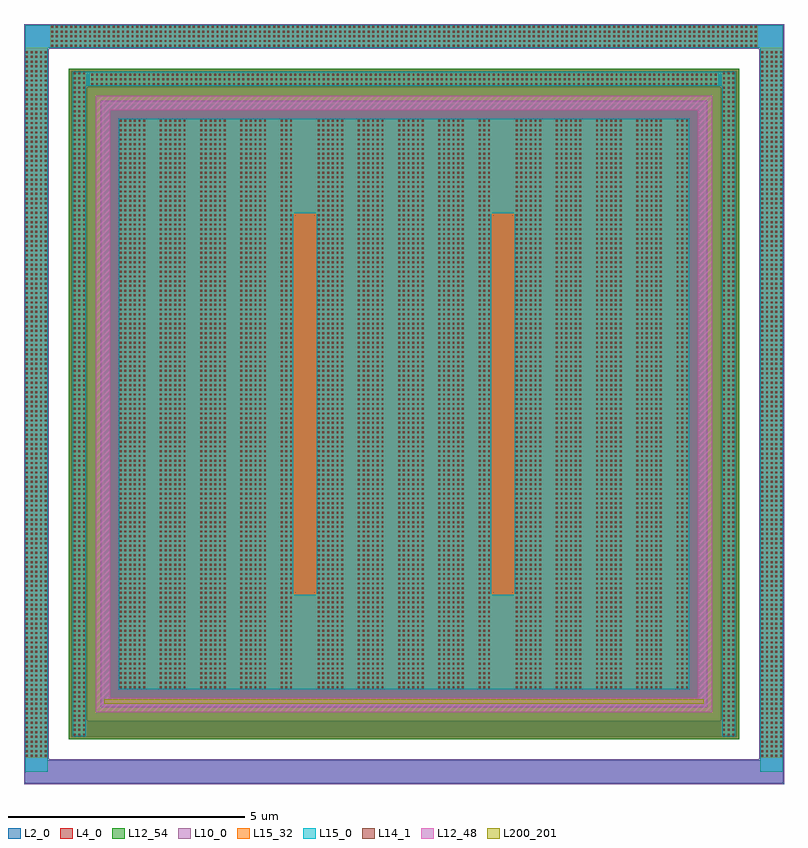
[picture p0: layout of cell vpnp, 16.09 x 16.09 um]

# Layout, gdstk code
import gdstk
lib = gdstk.Library(unit=1e-6, precision=1e-09)
def R(c, l, rs):  # rectangles x0, y0, x1, y1
    for r in rs: c.add(gdstk.rectangle(r[:2], r[2:], *l))
def A(c, l, x, y, w, h, nx, ny, dx, dy):  # array of equal rectangles
    R(c, l, [(x+i*dx, y+j*dy, x+i*dx+w, y+j*dy+h) for i in range(nx) for j in range(ny)])
L2_0 = (2, 0)
L4_0 = (4, 0)
L10_0 = (10, 0)
L12_48 = (12, 48)
L12_54 = (12, 54)
L14_1 = (14, 1)
L15_0 = (15, 0)
L15_32 = (15, 32)
L200_201 = (200, 201)

vpnp = lib.new_cell('vpnp')
R(vpnp, L2_0, [(-14.529,-6.559,1.523,-6.079), (-14.529,-6.079,-14.049,9.013), (1.043,-6.079,1.523,9.013), (-13.549,-5.579,0.543,-5.239), (-13.549,-5.239,-13.209,8.173), (0.203,-5.239,0.543,8.173), (-12.853,-4.883,-0.153,7.817), (-13.549,8.173,0.543,8.513), (-14.529,9.013,1.523,9.493)])
R(vpnp, L4_0, [(-13.605,-5.635,0.599,8.569)])
R(vpnp, L10_0, [(-14.55,-6.58,1.544,-6.058), (-14.55,-6.058,-14.028,8.992), (1.022,-6.058,1.544,8.992), (-12.923,-4.953,-0.083,7.887), (-14.55,8.992,1.544,9.514)])
R(vpnp, L12_48, [(-13.034,-5.064,0.028,-4.758), (-13.034,-4.758,-12.728,7.692), (-0.278,-4.758,0.028,7.692), (-13.034,7.692,0.028,7.998)])
R(vpnp, L12_54, [(-13.605,-5.635,0.599,8.569)])
A(vpnp, L14_1, -14.509, -6.003, 0.04, 0.04, 5, 150, 0.1, 0.1)
A(vpnp, L14_1, 1.063, -6.003, 0.04, 0.04, 5, 150, 0.1, 0.1)
A(vpnp, L14_1, -13.499, -5.553, 0.04, 0.04, 3, 141, 0.1, 0.1)
A(vpnp, L14_1, 0.253, -5.553, 0.04, 0.04, 3, 141, 0.1, 0.1)
A(vpnp, L14_1, -12.523, -4.553, 0.04, 0.04, 6, 121, 0.1, 0.1)
A(vpnp, L14_1, -11.671, -4.553, 0.04, 0.04, 6, 121, 0.1, 0.1)
A(vpnp, L14_1, -10.819, -4.553, 0.04, 0.04, 6, 121, 0.1, 0.1)
A(vpnp, L14_1, -9.967, -4.553, 0.04, 0.04, 6, 121, 0.1, 0.1)
A(vpnp, L14_1, -9.115, -4.553, 0.04, 0.04, 3, 121, 0.1, 0.1)
A(vpnp, L14_1, -8.331, -4.553, 0.04, 0.04, 6, 121, 0.1, 0.1)
A(vpnp, L14_1, -7.479, -4.553, 0.04, 0.04, 6, 121, 0.1, 0.1)
A(vpnp, L14_1, -6.627, -4.553, 0.04, 0.04, 6, 121, 0.1, 0.1)
A(vpnp, L14_1, -5.775, -4.553, 0.04, 0.04, 6, 121, 0.1, 0.1)
A(vpnp, L14_1, -4.923, -4.553, 0.04, 0.04, 3, 121, 0.1, 0.1)
A(vpnp, L14_1, -4.139, -4.553, 0.04, 0.04, 6, 121, 0.1, 0.1)
A(vpnp, L14_1, -3.287, -4.553, 0.04, 0.04, 6, 121, 0.1, 0.1)
A(vpnp, L14_1, -2.435, -4.553, 0.04, 0.04, 6, 121, 0.1, 0.1)
A(vpnp, L14_1, -1.583, -4.553, 0.04, 0.04, 6, 121, 0.1, 0.1)
A(vpnp, L14_1, -0.731, -4.553, 0.04, 0.04, 3, 121, 0.1, 0.1)
A(vpnp, L14_1, -13.123, 8.223, 0.04, 0.04, 133, 3, 0.1, 0.1)
A(vpnp, L14_1, -13.973, 9.033, 0.04, 0.04, 150, 5, 0.1, 0.1)
A(vpnp, L15_0, -12.541, -2.571, 3.692, 8.076, 3, 1, 4.192, 0)
R(vpnp, L15_0, [(-14.527,-6.319,-14.051,9.491), (1.045,-6.319,1.521,9.491), (-13.517,-5.571,-13.241,8.505), (0.235,-5.571,0.511,8.505), (-12.541,-4.571,-0.465,-2.571), (-12.541,5.505,-0.465,7.505), (-13.241,8.205,0.235,8.505), (-14.051,9.015,1.045,9.491)])
R(vpnp, L15_32, [(-14.527,-6.021,-14.051,9.015), (1.045,-6.021,1.521,9.015), (-13.517,-5.571,-13.241,8.505), (0.235,-5.571,0.511,8.505), (-12.541,-4.571,-0.465,7.505), (-13.141,8.205,0.135,8.481), (-13.991,9.015,0.985,9.491)])
R(vpnp, L200_201, [(-12.853,-4.883,-0.153,-4.783)])

lib.write_gds('vpnp.gds')
